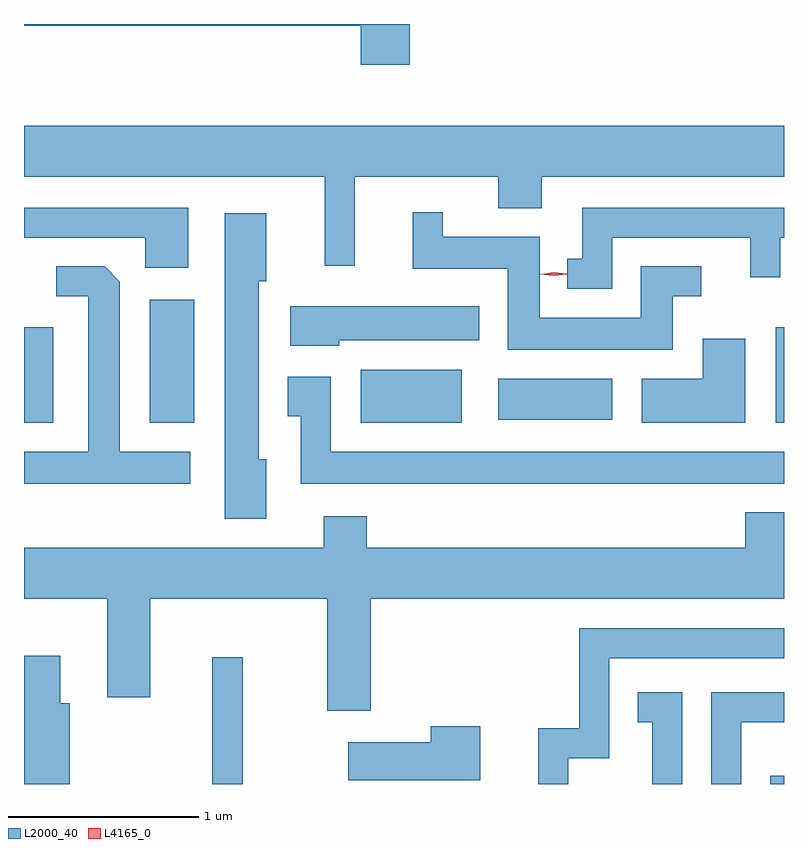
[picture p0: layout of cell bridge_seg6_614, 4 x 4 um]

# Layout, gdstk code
import gdstk
lib = gdstk.Library(unit=1e-6, precision=1e-09)
def R(c, l, rs):  # rectangles x0, y0, x1, y1
    for r in rs: c.add(gdstk.rectangle(r[:2], r[2:], *l))
def P(c, l, *ps):  # polygons
    for p in ps: c.add(gdstk.Polygon(p, *l))
L2000_40 = (2000, 40)
L4165_0 = (4165, 0)

bridge_seg6_614 = lib.new_cell('bridge_seg6_614')
R(bridge_seg6_614, L2000_40, [(322.156,1657.84,322.314,1658.508), (325.091,1657.84,325.164,1657.884), (321.164,1659.741,321.319,1660.244), (321.826,1659.741,322.059,1660.389), (322.936,1659.741,323.469,1660.019), (325.121,1659.741,325.164,1660.244), (323.661,1659.756,324.259,1659.974)])
P(bridge_seg6_614, L2000_40, [(323.194,1661.84),(321.164,1661.84),(321.164,1661.831),(322.936,1661.831),(322.936,1661.626),(323.194,1661.626)],
  [(322.904,1661.036),(323.661,1661.036),(323.661,1660.871),(323.889,1660.871),(323.889,1661.036),(325.164,1661.036),(325.164,1661.304),(321.164,1661.304),(321.164,1661.036),(322.746,1661.036),(322.746,1660.568),(322.904,1660.568)],
  [(324.259,1660.716),(324.986,1660.716),(324.986,1660.508),(325.144,1660.508),(325.144,1660.716),(325.164,1660.716),(325.164,1660.874),(324.101,1660.874),(324.101,1660.604),(324.023,1660.604),(324.023,1660.446),(324.259,1660.446)],
  [(322.029,1660.874),(321.164,1660.874),(321.164,1660.716),(321.801,1660.716),(321.801,1660.556),(322.029,1660.556)],
  [(324.579,1660.406),(324.728,1660.406),(324.728,1660.564),(324.411,1660.564),(324.411,1660.294),(323.879,1660.294),(323.879,1660.719),(323.369,1660.719),(323.369,1660.848),(323.211,1660.848),(323.211,1660.551),(323.711,1660.551),(323.711,1660.126),(324.579,1660.126)],
  [(322.439,1659.549),(322.399,1659.549),(322.399,1660.486),(322.439,1660.486),(322.439,1660.844),(322.221,1660.844),(322.221,1659.236),(322.439,1659.236)],
  [(322.038,1659.589),(321.669,1659.589),(321.669,1660.484),(321.589,1660.564),(321.333,1660.564),(321.333,1660.406),(321.501,1660.406),(321.501,1659.589),(321.164,1659.589),(321.164,1659.421),(322.038,1659.421)],
  [(322.824,1660.176),(323.559,1660.176),(323.559,1660.354),(322.566,1660.354),(322.566,1660.146),(322.824,1660.146)],
  [(324.959,1660.184),(324.736,1660.184),(324.736,1659.974),(324.416,1659.974),(324.416,1659.741),(324.959,1659.741)],
  [(325.164,1659.589),(322.779,1659.589),(322.779,1659.984),(322.551,1659.984),(322.551,1659.776),(322.621,1659.776),(322.621,1659.421),(325.164,1659.421)],
  [(322.989,1658.816),(325.164,1658.816),(325.164,1659.269),(324.961,1659.269),(324.961,1659.084),(322.969,1659.084),(322.969,1659.249),(322.741,1659.249),(322.741,1659.084),(321.164,1659.084),(321.164,1658.816),(321.601,1658.816),(321.601,1658.296),(321.829,1658.296),(321.829,1658.816),(322.761,1658.816),(322.761,1658.226),(322.989,1658.226)],
  [(324.029,1657.976),(324.244,1657.976),(324.244,1658.501),(325.164,1658.501),(325.164,1658.659),(324.086,1658.659),(324.086,1658.134),(323.871,1658.134),(323.871,1657.84),(324.029,1657.84)],
  [(321.404,1658.264),(321.354,1658.264),(321.354,1658.514),(321.164,1658.514),(321.164,1657.84),(321.404,1657.84)],
  [(324.629,1658.324),(324.393,1658.324),(324.393,1658.166),(324.471,1658.166),(324.471,1657.84),(324.629,1657.84)],
  [(324.939,1658.166),(325.164,1658.166),(325.164,1658.324),(324.781,1658.324),(324.781,1657.84),(324.939,1657.84)],
  [(323.564,1658.144),(323.306,1658.144),(323.306,1658.059),(322.871,1658.059),(322.871,1657.861),(323.564,1657.861)])
P(bridge_seg6_614, L4165_0, [(323.952,1660.514),(323.882,1660.523),(323.882,1660.524),(323.882,1660.524),(323.952,1660.534),(324.021,1660.525),(324.021,1660.524),(324.021,1660.524)])

lib.write_gds('bridge_seg6_614.gds')
